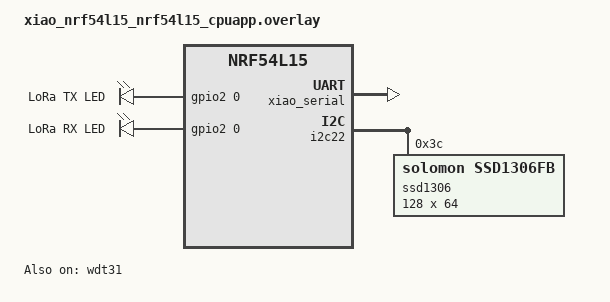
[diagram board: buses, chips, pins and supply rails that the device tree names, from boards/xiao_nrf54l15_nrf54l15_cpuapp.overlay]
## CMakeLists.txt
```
cmake_minimum_required(VERSION 3.20)

# ==========================================================
# Zephyr Configuration
# ==========================================================
set(ZEPHYR_BASE /home/dashtrad/lora_usp_workspace/zephyr)

# ==========================================================
# Semtech Driver Configuration (USP)
# ==========================================================
set(VENDOR_WS /home/dashtrad/lora_usp_workspace)
list(APPEND ZEPHYR_EXTRA_MODULES 
    ${VENDOR_WS}/application
    ${VENDOR_WS}/modules/lib/usp
    ${VENDOR_WS}/modules/lib/lora-basics-modem
)

list(APPEND BOARD_ROOT ${CMAKE_CURRENT_SOURCE_DIR})
find_package(Zephyr REQUIRED HINTS $ENV{ZEPHYR_BASE})

project(lr2021-tdoa-firmware)

# ==========================================================
# Application Selection (Default: pingpong)
# Usage: west build -b ... -- -DAPP_TYPE=ranging
# ==========================================================
set(APP_TYPE pingpong CACHE STRING "Application type to compile (pingpong or ranging)")

if(APP_TYPE STREQUAL "ranging")
    message(STATUS "Configuring application: RANGING")
    
    target_sources(app PRIVATE 
        src/ranging/main.c
        src/ranging/app_ranging_result_output.c
        src/ranging/oled_display.c
        src/ranging/app_ranging_hopping.c
    )
    zephyr_include_directories(src/ranging/)
    
    # Ranging specific definitions
    # target_compile_definitions(app PRIVATE DISABLE_RANGING_LOG)

else()
    message(STATUS "Configuring application: PINGPONG")
    
    target_sources(app PRIVATE 
        src/pingpong/main.c
        src/pingpong/app_periodic_uplink.c
        src/pingpong/app_ping_pong.c
        src/pingpong/oled_display.c
    )
    
    zephyr_include_directories(src/pingpong/)
    
    # Fix for pingpong busy-wait issue
    target_compile_definitions(app PRIVATE SUBORDINATE_PROCESSING_TIME_MS=50)
endif()
```

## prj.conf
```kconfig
# Copyright (c) 2024 Semtech Corporation
# SPDX-License-Identifier: Apache-2.0

# --------------------------- General configuration ---------------------------

# C++ Support
CONFIG_CPP=y
CONFIG_STD_CPP17=y

CONFIG_USE_SEGGER_RTT=n

# I2C and Display
CONFIG_I2C=y
CONFIG_DISPLAY=y
CONFIG_SSD1306=y

# heap size
CONFIG_HEAP_MEM_POOL_SIZE=4096

CONFIG_LOG=y
CONFIG_LOG_BACKEND_UART=y
CONFIG_PRINTK=y
CONFIG_SERIAL=y
CONFIG_CONSOLE=y
CONFIG_UART_CONSOLE=y
CONFIG_STDOUT_CONSOLE=y

CONFIG_TEST_RANDOM_GENERATOR=y

CONFIG_PM_DEVICE=y

CONFIG_WATCHDOG=n

CONFIG_FLASH=y

# ------------------------------ Transceiver driver ----------------------------

CONFIG_LORA_BASICS_MODEM_DRIVERS=y
CONFIG_LORA_BASICS_MODEM_DRIVERS_EVENT_TRIGGER_GLOBAL_THREAD=y

# ------------------------------ USP -----------------------------


CONFIG_USP=y
CONFIG_USP_MAIN_THREAD=y

#CONFIG_USP_LOG_LEVEL_DBG=y
#CONFIG_USP_LOG_VERBOSE=n

CONFIG_LOG_BUFFER_SIZE=4096

# no picolibc (Windows issue)
CONFIG_PICOLIBC_USE_MODULE=n
CONFIG_NEWLIB_LIBC=y


CONFIG_MAIN_STACK_SIZE=4096
CONFIG_STACK_SENTINEL=y

# Debug stack (à enlever en production)
CONFIG_THREAD_STACK_INFO=y
CONFIG_STACK_SENTINEL=y
CONFIG_THREAD_MONITOR=y
CONFIG_THREAD_NAME=y

# Threads are cooperative (non-preemptive) to simplify critical section management and avoid complex synchronization.
# This approach may reduce reactivity when ISR (interrupt service routines) are triggered (low optimization)
# The USP RAC thread is assigned a higher priority: it will execute immediately once the Main thread yields or blocks, ensuring prompt handling of USP RAC-related tasks.
# The Main thread has a lower priority: it runs only when the USP RAC thread is idle or waiting
CONFIG_MAIN_THREAD_PRIORITY=-2
CONFIG_USP_MAIN_THREAD_PRIORITY=-4

# Threads are preemptive: a thread with a higher priority can interrupt (preempt) a lower priority thread at any time.
# USP RAC thread has higher priority (1): it will preempt the main thread immediately whenever it is ready to run (ISR/Timer), ensuring low latency and fast response for USP RAC-related tasks.
# Main thread has lower priority (3): it runs only when the USP RAC thread is not active, yielding CPU time to the more urgent USP RAC operations automatically.
# This priority scheme allows responsive multitasking with guaranteed preemption based on thread priority.
CONFIG_MAIN_THREAD_PRIORITY=3
CONFIG_USP_MAIN_THREAD_PRIORITY=1
CONFIG_USP_THREADS_MUTEXES=y

#
# Priority Inversion : In case of multiple threads with different priorities, consider the modification of existing priorities and mutex use, or use Zephyr capabilities :
# CONFIG_KERNEL_MEM_POOL=y
# CONFIG_MUTEX_PRIORITY_INHERITANCE=y
# CONFIG_PRIORITY_CEILING=y

# Only one thread
# CONFIG_USP_MAIN_THREAD_PRIORITY=0
```

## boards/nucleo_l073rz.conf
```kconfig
# --- L073RZ (20KB RAM) Thrifty Config ---
CONFIG_DISPLAY=n
CONFIG_SSD1306=n

# Tắt tính năng không cần thiết để giảm RAM
CONFIG_DISPLAY=n
CONFIG_SSD1306=n
CONFIG_THREAD_STACK_INFO=n
CONFIG_THREAD_MONITOR=n
CONFIG_THREAD_NAME=n
CONFIG_STACK_SENTINEL=n

# Giảm cấu hình bộ nhớ để vừa với RAM 20KB
CONFIG_HEAP_MEM_POOL_SIZE=512
CONFIG_LOG_BUFFER_SIZE=512
CONFIG_MAIN_STACK_SIZE=2048
CONFIG_IDLE_STACK_SIZE=256
CONFIG_ISR_STACK_SIZE=1024
CONFIG_SYSTEM_WORKQUEUE_STACK_SIZE=1024
CONFIG_USP_MAIN_THREAD_STACK_SIZE=1536

# Sử dụng Picolibc (Zephyr 4.2 chuẩn)
CONFIG_NEWLIB_LIBC=n
CONFIG_PICOLIBC=y

# In log ngay lập tức để debug lỗi treo cứng
CONFIG_LOG_MODE_IMMEDIATE=y
```

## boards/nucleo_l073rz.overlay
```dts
/* Nucleo L073RZ Overlay for LR2021 */

#include <zephyr/dt-bindings/usp/lr20xx.h>

/ {
	aliases {
		smtc-watchdog = &iwdg;
		smtc-user-button = &user_button;
		lora-transceiver = &lr2021;
	};
	chosen {
		zephyr,lorawan-transceiver = &lr2021;
	};
};



&i2c2 {
	status = "disabled";
};

&usart1 {
	status = "disabled";
};

&spi1 {
	status = "okay";
	overrun-character = <0>;
	cs-gpios = <&gpioc 7 GPIO_ACTIVE_LOW>;

	lr2021: lr2021@0 {
		compatible = "semtech,lr2021";
		reg = <0>;
		spi-max-frequency = <DT_FREQ_M(8)>;

		tx-power-offset = <0>;
		rx-boost-cfg = <7>;

		reset-gpios = <&gpiob 10 GPIO_ACTIVE_LOW>;
		busy-gpios = <&gpiob 6 (GPIO_ACTIVE_HIGH | GPIO_PULL_UP)>;

		reg-mode = <LR20XX_REG_MODE_DCDC>;
		lf-clk = <LR20XX_SYSTEM_LFCLK_RC>;
		tcxo-voltage = <LR20XX_SYSTEM_TCXO_CTRL_1_8V>;
		tcxo-wakeup-time = <0>;

		tx-power-cfg-lf =
		<(-18) 0x03 0x06>, <(-13) 0x02 0x05>, <(-13) 0x06 0x01>, <( -6) 0x06 0x00>, <(  4) 0x01 0x00>,
		<(  4) 0x02 0x00>, <(  2) 0x01 0x03>, <( 14) 0x00 0x00>, <(  9) 0x00 0x03>, <( 11) 0x03 0x00>,
		<( 16) 0x01 0x00>, <( 11) 0x07 0x00>, <( 18) 0x02 0x00>, <( 16) 0x05 0x00>, <( 17) 0x07 0x00>,
		<( 21) 0x01 0x02>, <( 25) 0x03 0x00>, <( 32) 0x00 0x01>, <( 32) 0x02 0x00>, <( 27) 0x03 0x01>,
		<( 32) 0x02 0x01>, <( 28) 0x05 0x01>, <( 30) 0x05 0x01>, <( 34) 0x04 0x01>, <( 31) 0x05 0x04>,
		<( 34) 0x04 0x04>, <( 34) 0x05 0x06>, <( 39) 0x03 0x05>, <( 37) 0x06 0x06>, <( 40) 0x05 0x05>,
		<( 41) 0x07 0x04>, <( 43) 0x07 0x04>, <( 44) 0x07 0x07>;

		tx-power-cfg-hf =
		<(-39) 29 0x07>, <(-39) 16 0x07>, <(-35) 19 0x07>, <(-32) 19 0x07>, <(-29) 19 0x07>,
		<(-27) 16 0x07>, <(-24) 17 0x07>, <(-22) 16 0x07>, <(-19) 18 0x07>, <(-17) 16 0x07>,
		<(-14) 21 0x07>, <(-12) 18 0x07>, <( -7) 30 0x07>, <( -8) 16 0x07>, <( -5) 24 0x07>,
		<( -2) 27 0x07>, <(  1) 29 0x07>, <(  4) 30 0x07>, <(  6) 30 0x07>, <(  7) 28 0x07>,
		<(  8) 25 0x07>, <( 10) 25 0x07>, <( 15) 31 0x07>, <( 16) 30 0x07>, <( 18) 30 0x07>,
		<( 21) 31 0x07>, <( 22) 30 0x07>, <( 24) 30 0x07>, <( 24) 26 0x07>, <( 24) 16 0x07>;

		tx-dbm-to-ua-reg-mode-dcdc-lf-vreg = <
		10400 10100 9000 9000 8400 8700 10100 9200 10600 10000 10000 12100 10900
		12000 13100 13300 13400 14600 15300 16800 18100 20200 21900 25600 28300
		32200 37600 46000 51800 61300 74100 89400 108200>;

		tx-dbm-to-ua-reg-mode-ldo-lf-vreg = <
		1000 1000 1000 1000 1000 1000 1000 1000 1000 1000 1000 1000 1000
		1000 1000 1000 1000 1000 1000 1000 1000 1000 1000 1000 1000 1000
		1000 1000 1000 1000 1000 1000 1000>;

		tx-dbm-to-ua-reg-mode-dcdc-hf-vreg = <
		8625 8783 8874 8998 9145 9289 9481 9646 9840 10073 10280 10597 10511
		11200 11391 11630 11360 11635 11986 12670 13292 13859 13685 14629 15388
		15804 17270 18943 21041 22524>;

		rx-bw-to-ua-reg-mode-dcdc-lf-vreg = <5700 5790 6320 6140 6840 6600>;
		rx-bw-to-ua-reg-mode-dcdc-hf-vreg = <6400 6510 7040 6860 6880 7350>;
		rx-bw-to-ua-reg-mode-dcdc-lf-vreg-boosted = <6920 6990 7530 7370 8160 7820>;
		rx-bw-to-ua-reg-mode-dcdc-hf-vreg-boosted = <6740 6850 7130 7180 8010 7690>;
		rx-bw-to-ua-reg-mode-ldo-lf-vreg = <9420 9580 10580 10240 11770 11130>;
		rx-bw-to-ua-reg-mode-ldo-hf-vreg = <10760 10890 11870 11640 13130 12500>;
		rx-bw-to-ua-reg-mode-ldo-lf-vreg-boosted = <11670 11710 12880 12560 14090 13500>;
		rx-bw-to-ua-reg-mode-ldo-hf-vreg-boosted = <11410 11570 12590 12280 13720 13180>;

		calibration-freqs = <470000000 897500000 2441000000>;

		dios {
			compatible = "semtech,lr20xx-dios";
			#address-cells = <1>;
			#size-cells = <0>;
			dio@9 {
				reg = <9>;
				function = <LR20XX_SYSTEM_DIO_FUNC_IRQ>;
				dio-gpios = <&gpiob 4 (GPIO_ACTIVE_HIGH | GPIO_PULL_DOWN)>;
				irq-mask = <LR20XX_SYSTEM_IRQ_ALL_MASK>;
			};
		};
	};
};

&flash0 {
	partitions {
		compatible = "fixed-partitions";
		#address-cells = <1>;
		#size-cells = <1>;

		/* Reserve the last 16KB of 192KB flash for LBM storage */
		storage_partition: partition@2c000 {
			label = "storage";
			reg = <0x0002c000 0x00004000>;
		};
	};
};
```

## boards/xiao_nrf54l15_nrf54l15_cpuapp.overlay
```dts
/*
 * Copyright (c) 2024 Semtech Corporation
 *
 * SPDX-License-Identifier: Apache-2.0
 */

/ {
	chosen {
		zephyr,display = &ssd1306;
		zephyr,console = &uart20;
		zephyr,shell-uart = &uart20;
	};

	aliases {
		smtc-watchdog = &wdt31;
		smtc-user-button = &usr_btn;
	};

	leds {
		lora_tx_led: led_tx {
			gpios = <&gpio2 0 GPIO_ACTIVE_HIGH>;
			label = "LoRa TX LED";
		};
		lora_rx_led: led_rx {
			gpios = <&gpio2 0 GPIO_ACTIVE_HIGH>;
			label = "LoRa RX LED";
		};
	};
};

/* Enable Serial for logging */
&xiao_serial {
	status = "okay";
};

/* Enable I2C22 for OLED display on XIAO nRF54L15 */
&i2c22 {
	status = "okay";
	pinctrl-0 = <&i2c22_default>;
	pinctrl-1 = <&i2c22_sleep>;
	pinctrl-names = "default", "sleep";
	
	ssd1306: ssd1306@3c {
		compatible = "solomon,ssd1306fb";
		reg = <0x3c>;
		width = <128>;
		height = <64>;
		segment-offset = <0>;
		page-offset = <0>;
		display-offset = <0>;
		multiplex-ratio = <63>;
		segment-remap;
		com-invdir;
		prechargep = <0x22>;
	};
};

&i2c30 {
	status = "disabled";
};

&adc {
	status = "disabled";
};

&wdt31 {
	status = "okay";
};
```

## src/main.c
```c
/**
 * @file      main.c
 *
 * @brief     Application main
 *
 * The Clear BSD License
 * Copyright Semtech Corporation 2025. All rights reserved.
 *
 * Redistribution and use in source and binary forms, with or without
 * modification, are permitted (subject to the limitations in the disclaimer
 * below) provided that the following conditions are met:
 *     * Redistributions of source code must retain the above copyright
 *       notice, this list of conditions and the following disclaimer.
 *     * Redistributions in binary form must reproduce the above copyright
 *       notice, this list of conditions and the following disclaimer in the
 *       documentation and/or other materials provided with the distribution.
 *     * Neither the name of the Semtech corporation nor the
 *       names of its contributors may be used to endorse or promote products
 *       derived from this software without specific prior written permission.
 *
 * NO EXPRESS OR IMPLIED LICENSES TO ANY PARTY'S PATENT RIGHTS ARE GRANTED BY
 * THIS LICENSE. THIS SOFTWARE IS PROVIDED BY THE COPYRIGHT HOLDERS AND
 * CONTRIBUTORS "AS IS" AND ANY EXPRESS OR IMPLIED WARRANTIES, INCLUDING, BUT
 * NOT LIMITED TO, THE IMPLIED WARRANTIES OF MERCHANTABILITY AND FITNESS FOR A
 * PARTICULAR PURPOSE ARE DISCLAIMED. IN NO EVENT SHALL SEMTECH CORPORATION BE
 * LIABLE FOR ANY DIRECT, INDIRECT, INCIDENTAL, SPECIAL, EXEMPLARY, OR
 * CONSEQUENTIAL DAMAGES (INCLUDING, BUT NOT LIMITED TO, PROCUREMENT OF
 * SUBSTITUTE GOODS OR SERVICES; LOSS OF USE, DATA, OR PROFITS; OR BUSINESS
 * INTERRUPTION) HOWEVER CAUSED AND ON ANY THEORY OF LIABILITY, WHETHER IN
 * CONTRACT, STRICT LIABILITY, OR TORT (INCLUDING NEGLIGENCE OR OTHERWISE)
 * ARISING IN ANY WAY OUT OF THE USE OF THIS SOFTWARE, EVEN IF ADVISED OF THE
 * POSSIBILITY OF SUCH DAMAGE.
 */

#include <stdint.h>   // C99 types
#include <stdbool.h>  // bool type

#include <zephyr/kernel.h>
#include <zephyr/drivers/gpio.h>

#include <zephyr/kernel.h>
#include <zephyr/drivers/gpio.h>
#include <zephyr/devicetree.h>
#include <zephyr/device.h>

#include "app_periodic_uplink.h"
#include "app_ping_pong.h"
#define SMTC_HAL_DBG_TRACE_C
#include "main_ping_pong.h"

#include "smtc_hal_dbg_trace.h"
#include <smtc_zephyr_usp_api.h>
#include "smtc_sw_platform_helper.h"

#include <zephyr/lorawan_lbm/lorawan_hal_init.h>
#include <smtc_modem_hal.h>

/*
 * -----------------------------------------------------------------------------
 * --- PRIVATE MACROS-----------------------------------------------------------
 */

#define FORCE_MASTER_MODE 0  // Set to 1 to force this device as Master on startup

LOG_MODULE_REGISTER( usp, LOG_LEVEL_INF );

/*
 * -----------------------------------------------------------------------------
 * --- PRIVATE CONSTANTS -------------------------------------------------------
 */

/**
 * @brief Watchdog counter reload value during sleep (The period must be lower than MCU watchdog period (here 32s))
 */
#define WATCHDOG_RELOAD_PERIOD_MS 20000

/**
 * @brief Blue user button or BUTTON 1 on nrf52840-dk
 */

#define USER_BUTTON_NODE DT_ALIAS( smtc_user_button )
#if !DT_NODE_HAS_STATUS( USER_BUTTON_NODE, okay )
#error "Unsupported board: smtc-user-button devicetree alias is not defined"
#endif
static const struct gpio_dt_spec button = GPIO_DT_SPEC_GET_OR( USER_BUTTON_NODE, gpios, { 0 } );
static struct gpio_callback      button_cb_data;

/*
 * -----------------------------------------------------------------------------
 * --- PRIVATE TYPES -----------------------------------------------------------
 */
static volatile bool user_button_is_press;  // Flag for button status

/*
 * -----------------------------------------------------------------------------
 * --- PRIVATE VARIABLES -------------------------------------------------------
 */

/*
 * -----------------------------------------------------------------------------
 * --- PRIVATE FUNCTIONS DECLARATION -------------------------------------------
 * Prototypes for internal helper functions.
 */

/**
 * @brief User callback for button EXTI
 *
 * @param context Define by the user at the init
 */
static void user_button_callback( const void* context );

/**
 * @brief Configure User Button
 *
 */
static int configure_user_button( void );

/*
 * -----------------------------------------------------------------------------
 * --- PUBLIC FUNCTIONS DEFINITION ---------------------------------------------
 */

/* A binary semaphore to notify the main LBM loop */
K_SEM_DEFINE( periodical_uplink_event_sem, 0, 1 );

/* for zephyr compat*/
void button_pressed( const struct device* dev, struct gpio_callback* cb, uint32_t pins )
{
    printk( "%s", __func__ );
    user_button_callback( dev );
}

int main( void )
{
    if( configure_user_button( ) != 0 )
    {
        LOG_ERR( "Issue when configuring user button, aborting\n" );
        return 1;
    }

    SMTC_HAL_TRACE_INFO( "===== Ping Pong example =====\r\n" );

    SMTC_SW_PLATFORM_INIT( );
    SMTC_SW_PLATFORM_VOID( smtc_rac_init( ) );

    // initialize LEDs
    init_leds( );
    set_led( SMTC_PF_LED_TX, false );
    set_led( SMTC_PF_LED_RX, false );

    // initialize and start applications
    ping_pong_init( );
    periodic_uplink_init( );

    if( FORCE_MASTER_MODE )
    {
        LOG_INF( "!!! FORCING MASTER MODE ON STARTUP !!!" );
        user_button_is_press = true;
    }

    // Main application loop
    uint32_t loop_count = 0;
    while( true )
    {
        // Check button
        if( user_button_is_press == true )
        {
            user_button_is_press = false;
            LOG_INF( "Button event detected, triggering Ping..." );
            ping_pong_on_button_press( );
            periodic_uplink_on_button_press( );
        }

        // Heartbeat log every ~10 seconds to confirm MCU is alive
        if( ++loop_count % 10 == 0 )
        {
            LOG_INF( "MCU Heartbeat - System is running stable" );
        }

        // Wait for button events or watchdog reload period
        k_sem_take( &periodical_uplink_event_sem, K_MSEC( 1000 ) );
    }
    return 0;
}

/*
 * -----------------------------------------------------------------------------
 * --- PRIVATE FUNCTIONS DEFINITION --------------------------------------------
 */

static int configure_user_button( void )
{
    int ret = 0;
    if( !gpio_is_ready_dt( &button ) )
    {
        printk( "Error: button device %s is not ready\n", button.port->name );
        return 1;
    }

    ret = gpio_pin_configure_dt( &button, GPIO_INPUT );
    if( ret != 0 )
    {
        printk( "Error %d: failed to configure %s pin %d\n", ret, button.port->name, button.pin );
        return 1;
    }

    ret = gpio_pin_interrupt_configure_dt( &button, GPIO_INT_EDGE_TO_ACTIVE );
    if( ret != 0 )
    {
        printk( "Error %d: failed to configure interrupt on %s pin %d\n", ret, button.port->name, button.pin );
        return 1;
    }

    gpio_init_callback( &button_cb_data, button_pressed, BIT( button.pin ) );
    gpio_add_callback( button.port, &button_cb_data );

    return 0;
}

static void user_button_callback( const void* context )
{
    LOG_INF( "Button pushed\n" );

    ( void ) context;  // Not used in the example - avoid warning

    static uint32_t last_press_timestamp_ms = 0;

    // Debounce the button press, avoid multiple triggers
    if( ( int32_t ) ( smtc_modem_hal_get_time_in_ms( ) - last_press_timestamp_ms ) > 500 )
    {
        last_press_timestamp_ms = smtc_modem_hal_get_time_in_ms( );
        user_button_is_press    = true;
    }
    // Wake up the main thread
    k_sem_give( &periodical_uplink_event_sem );
}

/* --- EOF ------------------------------------------------------------------ */
```
